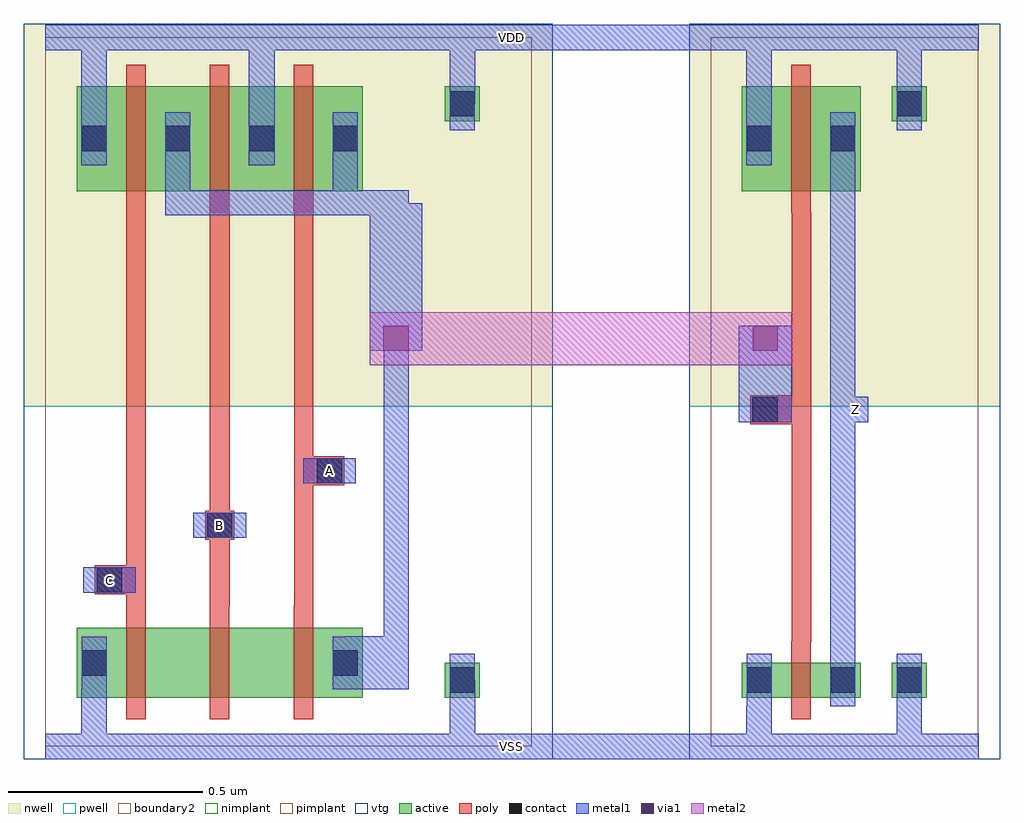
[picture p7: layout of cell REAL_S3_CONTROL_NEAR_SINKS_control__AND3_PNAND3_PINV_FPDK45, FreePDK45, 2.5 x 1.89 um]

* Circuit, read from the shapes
.subckt REAL_S3_CONTROL_NEAR_SINKS_control__AND3_PNAND3_PINV_FPDK45 A B C VDD VSS Z
M1 n1 C VSS VSS nfet w=0.18u l=0.05u
M2 n2 B n1 VSS nfet w=0.18u l=0.05u
M3 n3 A n2 VSS nfet w=0.18u l=0.05u
M4 Z n3 VSS VSS nfet w=0.09u l=0.05u
M5 n3 C VDD VDD pfet w=0.27u l=0.05u
M6 VDD B n3 VDD pfet w=0.27u l=0.05u
M7 n3 A VDD VDD pfet w=0.27u l=0.05u
M8 Z n3 VDD VDD pfet w=0.27u l=0.05u
.ends

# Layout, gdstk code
import gdstk
lib = gdstk.Library(unit=1e-6, precision=1e-09)
def R(c, l, rs):  # rectangles x0, y0, x1, y1
    for r in rs: c.add(gdstk.rectangle(r[:2], r[2:], *l))
active = (1, 0)
pwell = (2, 0)
nwell = (3, 0)
nimplant = (4, 0)
pimplant = (5, 0)
vtg = (6, 0)
poly = (9, 0)
contact = (10, 0)
metal1 = (11, 0)
via1 = (12, 0)
metal2 = (13, 0)
boundary2 = (239, 0)

real_s3_control_near_sin = lib.new_cell('REAL_S3_CONTROL_NEAR_SINKS_control__TEAMB_CLONE__nand3__PNAND3_NW180_PW270_L50_FPDK45__PNAND3_NW180_PW270_L50_FPDK45_contact_8')
R(real_s3_control_near_sin, active, [(0,0.022,0.09,0.112)])
R(real_s3_control_near_sin, nwell, [(-0.055,-0.033,0.145,0.168)])
R(real_s3_control_near_sin, pimplant, [(0,0.022,0.09,0.112)])
R(real_s3_control_near_sin, contact, [(0.013,0.035,0.077,0.1)])
R(real_s3_control_near_sin, metal1, [(0.013,0,0.077,0.135)])
R(real_s3_control_near_sin, boundary2, [(-0.055,-0.033,0.145,0.168)])

c_real_s3_control_near_sin = lib.new_cell('REAL_S3_CONTROL_NEAR_SINKS_control__TEAMB_CLONE__nand3__PNAND3_NW180_PW270_L50_FPDK45__PNAND3_NW180_PW270_L50_FPDK45_pmos_m1_w0_270_sm1_dm1')
R(c_real_s3_control_near_sin, active, [(0,0,0.305,0.27)])
R(c_real_s3_control_near_sin, nwell, [(-0.08,-0.08,0.385,0.35)])
R(c_real_s3_control_near_sin, pimplant, [(0,0,0.305,0.27)])
R(c_real_s3_control_near_sin, vtg, [(-0.08,-0.08,0.385,0.35)])
R(c_real_s3_control_near_sin, poly, [(0.127,-0.055,0.177,0.325), (0.127,-0.055,0.177,0.325)])
R(c_real_s3_control_near_sin, metal1, [(0.013,0.068,0.077,0.203), (0.227,0.068,0.292,0.203)])
R(c_real_s3_control_near_sin, boundary2, [(-0.08,-0.08,0.385,0.35)])
c_real_s3_control_near_sin.add(gdstk.Reference(real_s3_control_near_sin, (0,0.068)))
c_real_s3_control_near_sin.add(gdstk.Reference(real_s3_control_near_sin, (0.215,0.068)))

c_real_s3_control_near_sin_ = lib.new_cell('REAL_S3_CONTROL_NEAR_SINKS_control__TEAMB_CLONE__nand3__PNAND3_NW180_PW270_L50_FPDK45__PNAND3_NW180_PW270_L50_FPDK45_contact_7')
R(c_real_s3_control_near_sin_, active, [(0,0.022,0.09,0.112)])
R(c_real_s3_control_near_sin_, pwell, [(-0.055,-0.033,0.145,0.168)])
R(c_real_s3_control_near_sin_, nimplant, [(0,0.022,0.09,0.112)])
R(c_real_s3_control_near_sin_, contact, [(0.013,0.035,0.077,0.1)])
R(c_real_s3_control_near_sin_, metal1, [(0.013,0,0.077,0.135)])
R(c_real_s3_control_near_sin_, boundary2, [(-0.055,-0.033,0.145,0.168)])

c_real_s3_control_near_sin__ = lib.new_cell('REAL_S3_CONTROL_NEAR_SINKS_control__TEAMB_CLONE__nand3__PNAND3_NW180_PW270_L50_FPDK45__PNAND3_NW180_PW270_L50_FPDK45_nmos_m1_w0_180_sm1_dactive')
R(c_real_s3_control_near_sin__, active, [(0,0,0.305,0.18), (0.215,0.045,0.305,0.135)])
R(c_real_s3_control_near_sin__, pwell, [(-0.08,-0.08,0.385,0.26)])
R(c_real_s3_control_near_sin__, nimplant, [(0,0,0.305,0.18)])
R(c_real_s3_control_near_sin__, vtg, [(-0.08,-0.08,0.385,0.26)])
R(c_real_s3_control_near_sin__, poly, [(0.127,-0.055,0.177,0.235), (0.127,-0.055,0.177,0.235)])
R(c_real_s3_control_near_sin__, metal1, [(0.013,0.022,0.077,0.157)])
R(c_real_s3_control_near_sin__, boundary2, [(-0.08,-0.08,0.385,0.26)])
c_real_s3_control_near_sin__.add(gdstk.Reference(c_real_s3_control_near_sin_, (0,0.022)))

c_real_s3_control_near_sin___ = lib.new_cell('REAL_S3_CONTROL_NEAR_SINKS_control__TEAMB_CLONE__nand3__PNAND3_NW180_PW270_L50_FPDK45__PNAND3_NW180_PW270_L50_FPDK45_nmos_m1_w0_180_sactive_dactive')
R(c_real_s3_control_near_sin___, active, [(0,0,0.305,0.18), (0,0.045,0.09,0.135), (0.215,0.045,0.305,0.135)])
R(c_real_s3_control_near_sin___, pwell, [(-0.08,-0.08,0.385,0.26)])
R(c_real_s3_control_near_sin___, nimplant, [(0,0,0.305,0.18)])
R(c_real_s3_control_near_sin___, vtg, [(-0.08,-0.08,0.385,0.26)])
R(c_real_s3_control_near_sin___, poly, [(0.127,-0.055,0.177,0.235), (0.127,-0.055,0.177,0.235)])
R(c_real_s3_control_near_sin___, boundary2, [(-0.08,-0.08,0.385,0.26)])

c_real_s3_control_near_sin____ = lib.new_cell('REAL_S3_CONTROL_NEAR_SINKS_control__TEAMB_CLONE__nand3__PNAND3_NW180_PW270_L50_FPDK45__PNAND3_NW180_PW270_L50_FPDK45_nmos_m1_w0_180_sactive_dm1')
R(c_real_s3_control_near_sin____, active, [(0,0,0.305,0.18), (0,0.045,0.09,0.135)])
R(c_real_s3_control_near_sin____, pwell, [(-0.08,-0.08,0.385,0.26)])
R(c_real_s3_control_near_sin____, nimplant, [(0,0,0.305,0.18)])
R(c_real_s3_control_near_sin____, vtg, [(-0.08,-0.08,0.385,0.26)])
R(c_real_s3_control_near_sin____, poly, [(0.127,-0.055,0.177,0.235), (0.127,-0.055,0.177,0.235)])
R(c_real_s3_control_near_sin____, metal1, [(0.227,0.022,0.292,0.157)])
R(c_real_s3_control_near_sin____, boundary2, [(-0.08,-0.08,0.385,0.26)])
c_real_s3_control_near_sin____.add(gdstk.Reference(c_real_s3_control_near_sin_, (0.215,0.022)))

c_real_s3_control_near_sin_____ = lib.new_cell('REAL_S3_CONTROL_NEAR_SINKS_control__TEAMB_CLONE__nand3__PNAND3_NW180_PW270_L50_FPDK45__PNAND3_NW180_PW270_L50_FPDK45_contact_9')
R(c_real_s3_control_near_sin_____, active, [(0,0.022,0.09,0.112)])
R(c_real_s3_control_near_sin_____, nwell, [(-0.055,-0.033,0.145,0.168)])
R(c_real_s3_control_near_sin_____, nimplant, [(0,0.022,0.09,0.112)])
R(c_real_s3_control_near_sin_____, contact, [(0.013,0.035,0.077,0.1)])
R(c_real_s3_control_near_sin_____, metal1, [(0.013,0,0.077,0.135)])
R(c_real_s3_control_near_sin_____, boundary2, [(-0.055,-0.033,0.145,0.168)])

c_real_s3_control_near_sin______ = lib.new_cell('REAL_S3_CONTROL_NEAR_SINKS_control__TEAMB_CLONE__nand3__PNAND3_NW180_PW270_L50_FPDK45__PNAND3_NW180_PW270_L50_FPDK45_contact_10')
R(c_real_s3_control_near_sin______, active, [(0,0.022,0.09,0.112)])
R(c_real_s3_control_near_sin______, pwell, [(-0.055,-0.033,0.145,0.168)])
R(c_real_s3_control_near_sin______, pimplant, [(0,0.022,0.09,0.112)])
R(c_real_s3_control_near_sin______, contact, [(0.013,0.035,0.077,0.1)])
R(c_real_s3_control_near_sin______, metal1, [(0.013,0,0.077,0.135)])
R(c_real_s3_control_near_sin______, boundary2, [(-0.055,-0.033,0.145,0.168)])

c_real_s3_control_near_sin_______ = lib.new_cell('REAL_S3_CONTROL_NEAR_SINKS_control__TEAMB_CLONE__nand3__PNAND3_NW180_PW270_L50_FPDK45__PNAND3_NW180_PW270_L50_FPDK45_contact_11')
R(c_real_s3_control_near_sin_______, poly, [(0.03,0,0.105,0.075)])
R(c_real_s3_control_near_sin_______, contact, [(0.035,0.005,0.1,0.07)])
R(c_real_s3_control_near_sin_______, metal1, [(0,0.005,0.135,0.07)])
R(c_real_s3_control_near_sin_______, boundary2, [(0,0,0.135,0.075)])

c_real_s3_control_near_sin________ = lib.new_cell('REAL_S3_CONTROL_NEAR_SINKS_control__TEAMB_CLONE__nand3__PNAND3_NW180_PW270_L50_FPDK45__PNAND3_NW180_PW270_L50_FPDK45_pnand3')
R(c_real_s3_control_near_sin________, pwell, [(-0.055,-0.033,1.302,0.873)])
R(c_real_s3_control_near_sin________, nwell, [(-0.055,0.873,1.302,1.855)])
R(c_real_s3_control_near_sin________, vtg, [(-0.055,-0.033,1.302,0.873), (-0.055,0.873,1.302,1.855)])
R(c_real_s3_control_near_sin________, poly, [(0.208,0.36,0.258,1.37), (0.422,0.36,0.473,1.37), (0.638,0.36,0.687,1.37), (0.165,0.39,0.208,0.465), (0.422,0.53,0.447,0.605), (0.638,0.67,0.73,0.745)])
R(c_real_s3_control_near_sin________, metal1, [(0,-0.033,1.248,0.033), (0.092,-0.033,0.157,0.147), (1.038,0,1.103,0.17), (0.77,0.147,0.9,0.283), (0.868,0.147,0.932,1.395), (0.097,0.395,0.232,0.46), (0.38,0.535,0.515,0.6), (0.662,0.675,0.797,0.74), (0.307,1.363,0.372,1.427), (0.34,1.363,0.9,1.427), (0.738,1.363,0.802,1.427), (0.77,1.363,0.9,1.427), (0.868,1.363,0.932,1.427), (0.307,1.395,0.372,1.56), (0.738,1.395,0.802,1.56), (0.092,1.492,0.157,1.852), (0.522,1.492,0.588,1.852), (1.038,1.65,1.103,1.82), (0,1.787,1.248,1.852)])
R(c_real_s3_control_near_sin________, boundary2, [(0,0,1.248,1.82), (0,0,1.248,1.82)])
c_real_s3_control_near_sin________.add(gdstk.Reference(c_real_s3_control_near_sin, (0.08,1.425)))
c_real_s3_control_near_sin________.add(gdstk.Reference(c_real_s3_control_near_sin, (0.295,1.425)))
c_real_s3_control_near_sin________.add(gdstk.Reference(c_real_s3_control_near_sin, (0.51,1.425)))
c_real_s3_control_near_sin________.add(gdstk.Reference(c_real_s3_control_near_sin__, (0.08,0.125)))
c_real_s3_control_near_sin________.add(gdstk.Reference(c_real_s3_control_near_sin___, (0.295,0.125)))
c_real_s3_control_near_sin________.add(gdstk.Reference(c_real_s3_control_near_sin____, (0.51,0.125)))
c_real_s3_control_near_sin________.add(gdstk.Reference(c_real_s3_control_near_sin_____, (1.025,1.582)))
c_real_s3_control_near_sin________.add(gdstk.Reference(c_real_s3_control_near_sin______, (1.025,0.103)))
c_real_s3_control_near_sin________.add(gdstk.Reference(c_real_s3_control_near_sin_______, (0.097,0.39)))
c_real_s3_control_near_sin________.add(gdstk.Reference(c_real_s3_control_near_sin_______, (0.38,0.53)))
c_real_s3_control_near_sin________.add(gdstk.Reference(c_real_s3_control_near_sin_______, (0.662,0.67)))

c_real_s3_control_near_sin_________ = lib.new_cell('REAL_S3_CONTROL_NEAR_SINKS_control__TEAMB_CLONE__nand3__PNAND3_NW180_PW270_L50_FPDK45__PNAND3_NW180_PW270_L50_FPDK45')
R(c_real_s3_control_near_sin_________, metal1, [(0,-0.033,1.248,0.033), (0.097,0.395,0.232,0.46), (0.38,0.535,0.515,0.6), (0.662,0.675,0.797,0.74), (0.868,1.363,0.932,1.427), (0,1.787,1.248,1.852)])
R(c_real_s3_control_near_sin_________, boundary2, [(0,0,1.248,1.82)])
c_real_s3_control_near_sin_________.add(gdstk.Reference(c_real_s3_control_near_sin________, (0,0)))

c_real_s3_control_near_sin__________ = lib.new_cell('REAL_S3_CONTROL_NEAR_SINKS_control__TEAMB_CLONE__inv__PINV_NW90_PW270_L50__TRANSMISSION_GATE_NW250_PW500_L50_contact_8')
R(c_real_s3_control_near_sin__________, active, [(0,0.022,0.09,0.112), (0,0.022,0.09,0.112)])
R(c_real_s3_control_near_sin__________, nwell, [(-0.055,-0.033,0.145,0.168), (-0.055,-0.033,0.145,0.168)])
R(c_real_s3_control_near_sin__________, pimplant, [(0,0.022,0.09,0.112), (0,0.022,0.09,0.112)])
R(c_real_s3_control_near_sin__________, contact, [(0.013,0.035,0.077,0.1), (0.013,0.035,0.077,0.1)])
R(c_real_s3_control_near_sin__________, metal1, [(0.013,0,0.077,0.135), (0.013,0,0.077,0.135)])
R(c_real_s3_control_near_sin__________, boundary2, [(-0.055,-0.033,0.145,0.168), (-0.055,-0.033,0.145,0.168)])

c_real_s3_control_near_sin___________ = lib.new_cell('REAL_S3_CONTROL_NEAR_SINKS_control__TEAMB_CLONE__inv__PINV_NW90_PW270_L50__PINV_NW180_PW270_L50_pmos_m1_w0_270_sm1_dm1_da_p')
R(c_real_s3_control_near_sin___________, active, [(0,0,0.305,0.27), (0,0,0.305,0.27)])
R(c_real_s3_control_near_sin___________, nwell, [(-0.08,-0.08,0.385,0.35), (-0.08,-0.08,0.385,0.35)])
R(c_real_s3_control_near_sin___________, pimplant, [(0,0,0.305,0.27), (0,0,0.305,0.27)])
R(c_real_s3_control_near_sin___________, vtg, [(-0.08,-0.08,0.385,0.35), (-0.08,-0.08,0.385,0.35)])
R(c_real_s3_control_near_sin___________, poly, [(0.127,-0.055,0.177,0.325), (0.127,-0.055,0.177,0.325), (0.127,-0.055,0.177,0.325), (0.127,-0.055,0.177,0.325)])
R(c_real_s3_control_near_sin___________, metal1, [(0.013,0.068,0.077,0.203), (0.013,0.068,0.077,0.203), (0.227,0.068,0.292,0.203), (0.227,0.068,0.292,0.203)])
R(c_real_s3_control_near_sin___________, boundary2, [(-0.08,-0.08,0.385,0.35), (-0.08,-0.08,0.385,0.35)])
c_real_s3_control_near_sin___________.add(gdstk.Reference(c_real_s3_control_near_sin__________, (0,0.068)))
c_real_s3_control_near_sin___________.add(gdstk.Reference(c_real_s3_control_near_sin__________, (0.215,0.068)))

c_real_s3_control_near_sin____________ = lib.new_cell('REAL_S3_CONTROL_NEAR_SINKS_control__TEAMB_CLONE__inv__PINV_NW90_PW270_L50__TRANSMISSION_GATE_NW250_PW500_L50_contact_7')
R(c_real_s3_control_near_sin____________, active, [(0,0.022,0.09,0.112), (0,0.022,0.09,0.112)])
R(c_real_s3_control_near_sin____________, pwell, [(-0.055,-0.033,0.145,0.168), (-0.055,-0.033,0.145,0.168)])
R(c_real_s3_control_near_sin____________, nimplant, [(0,0.022,0.09,0.112), (0,0.022,0.09,0.112)])
R(c_real_s3_control_near_sin____________, contact, [(0.013,0.035,0.077,0.1), (0.013,0.035,0.077,0.1)])
R(c_real_s3_control_near_sin____________, metal1, [(0.013,0,0.077,0.135), (0.013,0,0.077,0.135)])
R(c_real_s3_control_near_sin____________, boundary2, [(-0.055,-0.033,0.145,0.168), (-0.055,-0.033,0.145,0.168)])

c_real_s3_control_near_sin_____________ = lib.new_cell('REAL_S3_CONTROL_NEAR_SINKS_control__TEAMB_CLONE__inv__PINV_NW90_PW270_L50__PINV_NW90_PW270_L50_nmos_m1_w0_090_sm1_dm1_da_p')
R(c_real_s3_control_near_sin_____________, active, [(0,0,0.305,0.09), (0,0,0.305,0.09)])
R(c_real_s3_control_near_sin_____________, pwell, [(-0.08,-0.08,0.385,0.17), (-0.08,-0.08,0.385,0.17)])
R(c_real_s3_control_near_sin_____________, nimplant, [(0,0,0.305,0.09), (0,0,0.305,0.09)])
R(c_real_s3_control_near_sin_____________, vtg, [(-0.08,-0.08,0.385,0.17), (-0.08,-0.08,0.385,0.17)])
R(c_real_s3_control_near_sin_____________, poly, [(0.127,-0.055,0.177,0.145), (0.127,-0.055,0.177,0.145), (0.127,-0.055,0.177,0.145), (0.127,-0.055,0.177,0.145)])
R(c_real_s3_control_near_sin_____________, metal1, [(0.013,-0.022,0.077,0.112), (0.013,-0.022,0.077,0.112), (0.227,-0.022,0.292,0.112), (0.227,-0.022,0.292,0.112)])
R(c_real_s3_control_near_sin_____________, boundary2, [(-0.08,-0.08,0.385,0.17), (-0.08,-0.08,0.385,0.17)])
c_real_s3_control_near_sin_____________.add(gdstk.Reference(c_real_s3_control_near_sin____________, (0,-0.022)))
c_real_s3_control_near_sin_____________.add(gdstk.Reference(c_real_s3_control_near_sin____________, (0.215,-0.022)))

c_real_s3_control_near_sin______________ = lib.new_cell('REAL_S3_CONTROL_NEAR_SINKS_control__TEAMB_CLONE__inv__PINV_NW90_PW270_L50__TRANSMISSION_GATE_NW250_PW500_L50_contact_9')
R(c_real_s3_control_near_sin______________, active, [(0,0.022,0.09,0.112), (0,0.022,0.09,0.112)])
R(c_real_s3_control_near_sin______________, nwell, [(-0.055,-0.033,0.145,0.168), (-0.055,-0.033,0.145,0.168)])
R(c_real_s3_control_near_sin______________, nimplant, [(0,0.022,0.09,0.112), (0,0.022,0.09,0.112)])
R(c_real_s3_control_near_sin______________, contact, [(0.013,0.035,0.077,0.1), (0.013,0.035,0.077,0.1)])
R(c_real_s3_control_near_sin______________, metal1, [(0.013,0,0.077,0.135), (0.013,0,0.077,0.135)])
R(c_real_s3_control_near_sin______________, boundary2, [(-0.055,-0.033,0.145,0.168), (-0.055,-0.033,0.145,0.168)])

c_real_s3_control_near_sin_______________ = lib.new_cell('REAL_S3_CONTROL_NEAR_SINKS_control__TEAMB_CLONE__inv__PINV_NW90_PW270_L50__TRANSMISSION_GATE_NW250_PW500_L50_contact_10')
R(c_real_s3_control_near_sin_______________, active, [(0,0.022,0.09,0.112), (0,0.022,0.09,0.112)])
R(c_real_s3_control_near_sin_______________, pwell, [(-0.055,-0.033,0.145,0.168), (-0.055,-0.033,0.145,0.168)])
R(c_real_s3_control_near_sin_______________, pimplant, [(0,0.022,0.09,0.112), (0,0.022,0.09,0.112)])
R(c_real_s3_control_near_sin_______________, contact, [(0.013,0.035,0.077,0.1), (0.013,0.035,0.077,0.1)])
R(c_real_s3_control_near_sin_______________, metal1, [(0.013,0,0.077,0.135), (0.013,0,0.077,0.135)])
R(c_real_s3_control_near_sin_______________, boundary2, [(-0.055,-0.033,0.145,0.168), (-0.055,-0.033,0.145,0.168)])

c_real_s3_control_near_sin________________ = lib.new_cell('REAL_S3_CONTROL_NEAR_SINKS_control__TEAMB_CLONE__inv__PINV_NW90_PW270_L50__PINV_NW180_PW270_L50_contact_11')
R(c_real_s3_control_near_sin________________, poly, [(0.03,0,0.105,0.075), (0.03,0,0.105,0.075)])
R(c_real_s3_control_near_sin________________, contact, [(0.035,0.005,0.1,0.07), (0.035,0.005,0.1,0.07)])
R(c_real_s3_control_near_sin________________, metal1, [(0,0.005,0.135,0.07), (0,0.005,0.135,0.07)])
R(c_real_s3_control_near_sin________________, boundary2, [(0,0,0.135,0.075), (0,0,0.135,0.075)])

c_real_s3_control_near_sin_________________ = lib.new_cell('REAL_S3_CONTROL_NEAR_SINKS_control__TEAMB_CLONE__inv__PINV_NW90_PW270_L50__PINV_NW90_PW270_L50_core')
R(c_real_s3_control_near_sin_________________, pwell, [(-0.055,-0.033,0.743,0.873), (-0.055,-0.033,0.743,0.873)])
R(c_real_s3_control_near_sin_________________, nwell, [(-0.055,0.873,0.743,1.855), (-0.055,0.873,0.743,1.855)])
R(c_real_s3_control_near_sin_________________, vtg, [(-0.055,-0.033,0.743,0.873), (-0.055,-0.033,0.743,0.873), (-0.055,0.873,0.743,1.855), (-0.055,0.873,0.743,1.855)])
R(c_real_s3_control_near_sin_________________, poly, [(0.208,0.27,0.258,1.37), (0.208,0.27,0.258,1.37), (0.14,0.827,0.208,0.902), (0.14,0.827,0.208,0.902)])
R(c_real_s3_control_near_sin_________________, metal1, [(0,-0.033,0.687,0.033), (0,-0.033,0.687,0.033), (0.092,-0.033,0.157,0.103), (0.092,-0.033,0.157,0.103), (0.478,0,0.542,0.17), (0.478,0,0.542,0.17), (0.307,0.103,0.372,1.627), (0.307,0.103,0.372,1.627), (0.072,0.832,0.208,0.897), (0.072,0.832,0.208,0.897), (0.34,0.832,0.405,0.897), (0.34,0.832,0.405,0.897), (0.092,1.492,0.157,1.852), (0.092,1.492,0.157,1.852), (0.478,1.65,0.542,1.82), (0.478,1.65,0.542,1.82), (0,1.787,0.687,1.852), (0,1.787,0.687,1.852)])
R(c_real_s3_control_near_sin_________________, boundary2, [(0,0,0.687,1.82), (0,0,0.687,1.82), (0,0,0.687,1.82), (0,0,0.687,1.82)])
c_real_s3_control_near_sin_________________.add(gdstk.Reference(c_real_s3_control_near_sin___________, (0.08,1.425)))
c_real_s3_control_near_sin_________________.add(gdstk.Reference(c_real_s3_control_near_sin_____________, (0.08,0.125)))
c_real_s3_control_near_sin_________________.add(gdstk.Reference(c_real_s3_control_near_sin______________, (0.465,1.582)))
c_real_s3_control_near_sin_________________.add(gdstk.Reference(c_real_s3_control_near_sin_______________, (0.465,0.103)))
c_real_s3_control_near_sin_________________.add(gdstk.Reference(c_real_s3_control_near_sin________________, (0.072,0.827)))

c_real_s3_control_near_sin__________________ = lib.new_cell('REAL_S3_CONTROL_NEAR_SINKS_control__TEAMB_CLONE__inv__PINV_NW90_PW270_L50__PINV_NW90_PW270_L50')
R(c_real_s3_control_near_sin__________________, metal1, [(0,-0.033,0.687,0.033), (0,-0.033,0.687,0.033), (0.072,0.832,0.208,0.897), (0.072,0.832,0.208,0.897), (0.34,0.832,0.405,0.897), (0.34,0.832,0.405,0.897), (0,1.787,0.687,1.852), (0,1.787,0.687,1.852)])
R(c_real_s3_control_near_sin__________________, boundary2, [(0,0,0.687,1.82), (0,0,0.687,1.82)])
c_real_s3_control_near_sin__________________.add(gdstk.Reference(c_real_s3_control_near_sin_________________, (0,0)))

c_real_s3_control_near_sin___________________ = lib.new_cell('REAL_S3_CONTROL_NEAR_SINKS_control__AND3_PNAND3_PINV_FPDK45')
R(c_real_s3_control_near_sin___________________, metal1, [(0.055,0,2.45,0.065), (1.835,0.897,1.97,1.113), (0.888,1.048,1.022,1.427), (0.055,1.82,2.45,1.885)])
R(c_real_s3_control_near_sin___________________, via1, [(0.922,1.048,0.987,1.113), (1.87,1.048,1.935,1.113)])
R(c_real_s3_control_near_sin___________________, metal2, [(0.888,1.012,1.022,1.147), (0.955,1.012,1.902,1.147), (1.835,1.012,1.97,1.147)])
c_real_s3_control_near_sin___________________.add(gdstk.Reference(c_real_s3_control_near_sin_________, (0.055,0.033)))
c_real_s3_control_near_sin___________________.add(gdstk.Reference(c_real_s3_control_near_sin__________________, (1.762,0.033)))
c_real_s3_control_near_sin___________________.add(gdstk.Label('VDD', (1.252,1.852), layer=11, texttype=2))
c_real_s3_control_near_sin___________________.add(gdstk.Label('VSS', (1.252,0.033), layer=11, texttype=2))
c_real_s3_control_near_sin___________________.add(gdstk.Label('A', (0.785,0.74), layer=11, texttype=2))
c_real_s3_control_near_sin___________________.add(gdstk.Label('B', (0.503,0.6), layer=11, texttype=2))
c_real_s3_control_near_sin___________________.add(gdstk.Label('C', (0.22,0.46), layer=11, texttype=2))
c_real_s3_control_near_sin___________________.add(gdstk.Label('Z', (2.135,0.897), layer=11, texttype=2))

lib.write_gds('REAL_S3_CONTROL_NEAR_SINKS_control__AND3_PNAND3_PINV_FPDK45.gds')
